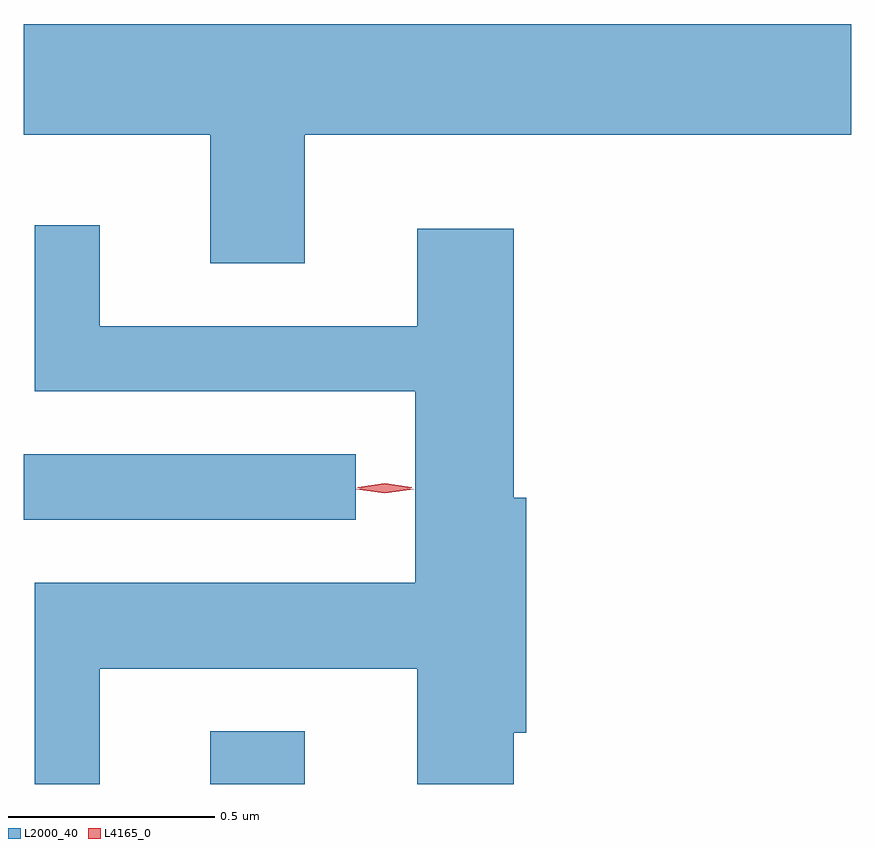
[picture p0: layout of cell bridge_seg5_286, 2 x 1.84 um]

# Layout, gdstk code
import gdstk
lib = gdstk.Library(unit=1e-6, precision=1e-09)
def R(c, l, rs):  # rectangles x0, y0, x1, y1
    for r in rs: c.add(gdstk.rectangle(r[:2], r[2:], *l))
def P(c, l, *ps):  # polygons
    for p in ps: c.add(gdstk.Polygon(p, *l))
L2000_40 = (2000, 40)
L4165_0 = (4165, 0)

bridge_seg5_286 = lib.new_cell('bridge_seg5_286')
R(bridge_seg5_286, L2000_40, [(1006.931,1479.647,1007.159,1479.774), (1006.48,1480.286,1007.283,1480.444)])
P(bridge_seg5_286, L2000_40, [(1007.159,1481.216),(1008.48,1481.216),(1008.48,1481.484),(1006.48,1481.484),(1006.48,1481.216),(1006.931,1481.216),(1006.931,1480.906),(1007.159,1480.906)],
  [(1006.664,1479.926),(1007.431,1479.926),(1007.431,1479.647),(1007.664,1479.647),(1007.664,1479.771),(1007.694,1479.771),(1007.694,1480.339),(1007.664,1480.339),(1007.664,1480.989),(1007.431,1480.989),(1007.431,1480.754),(1006.664,1480.754),(1006.664,1480.998),(1006.506,1480.998),(1006.506,1480.596),(1007.426,1480.596),(1007.426,1480.134),(1006.506,1480.134),(1006.506,1479.647),(1006.664,1479.647)])
P(bridge_seg5_286, L4165_0, [(1007.353,1480.35),(1007.284,1480.359),(1007.283,1480.36),(1007.284,1480.36),(1007.353,1480.369),(1007.422,1480.36),(1007.422,1480.359),(1007.422,1480.359)],
  [(1007.353,1480.354),(1007.287,1480.363),(1007.287,1480.364),(1007.287,1480.364),(1007.353,1480.374),(1007.418,1480.364),(1007.418,1480.364),(1007.418,1480.363)])

lib.write_gds('bridge_seg5_286.gds')
